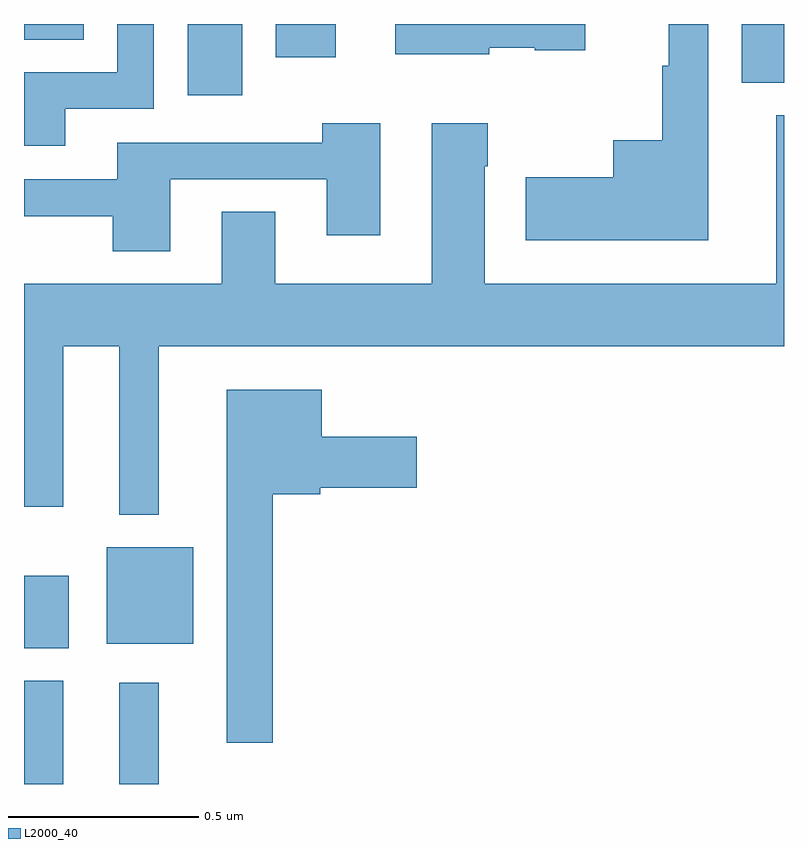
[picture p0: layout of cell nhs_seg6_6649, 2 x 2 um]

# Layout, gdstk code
import gdstk
lib = gdstk.Library(unit=1e-6, precision=1e-09)
def R(c, l, rs):  # rectangles x0, y0, x1, y1
    for r in rs: c.add(gdstk.rectangle(r[:2], r[2:], *l))
def P(c, l, *ps):  # polygons
    for p in ps: c.add(gdstk.Polygon(p, *l))
L2000_40 = (2000, 40)

nhs_seg6_6649 = lib.new_cell('nhs_seg6_6649')
R(nhs_seg6_6649, L2000_40, [(198,963.5,198.103,963.772), (198.251,963.5,198.355,963.766), (198,963.857,198.118,964.048), (198.218,963.869,198.445,964.123), (198.431,965.313,198.574,965.5), (199.889,965.345,200,965.5), (198.662,965.412,198.82,965.5), (198,965.459,198.157,965.5)])
P(nhs_seg6_6649, L2000_40, [(199.801,965.5),(199.697,965.5),(199.697,965.39),(199.68,965.39),(199.68,965.194),(199.55,965.194),(199.55,965.097),(199.32,965.097),(199.32,964.931),(199.801,964.931)],
  [(199.224,965.438),(199.344,965.438),(199.344,965.431),(199.477,965.431),(199.477,965.5),(198.977,965.5),(198.977,965.42),(199.224,965.42)],
  [(198.109,965.277),(198.342,965.277),(198.342,965.5),(198.246,965.5),(198.246,965.373),(198,965.373),(198,965.18),(198.109,965.18)],
  [(198.355,964.652),(200,964.652),(200,965.26),(199.979,965.26),(199.979,964.816),(199.213,964.816),(199.213,965.126),(199.221,965.126),(199.221,965.239),(199.073,965.239),(199.073,964.816),(198.661,964.816),(198.661,965.006),(198.521,965.006),(198.521,964.816),(198,964.816),(198,964.23),(198.103,964.23),(198.103,964.652),(198.251,964.652),(198.251,964.208),(198.355,964.208)],
  [(198.385,965.091),(198.797,965.091),(198.797,964.944),(198.937,964.944),(198.937,965.239),(198.785,965.239),(198.785,965.187),(198.245,965.187),(198.245,965.091),(198,965.091),(198,964.994),(198.233,964.994),(198.233,964.902),(198.385,964.902)],
  [(198.655,964.262),(198.78,964.262),(198.78,964.28),(199.033,964.28),(199.033,964.414),(198.784,964.414),(198.784,964.537),(198.533,964.537),(198.533,963.609),(198.655,963.609)])

lib.write_gds('nhs_seg6_6649.gds')
